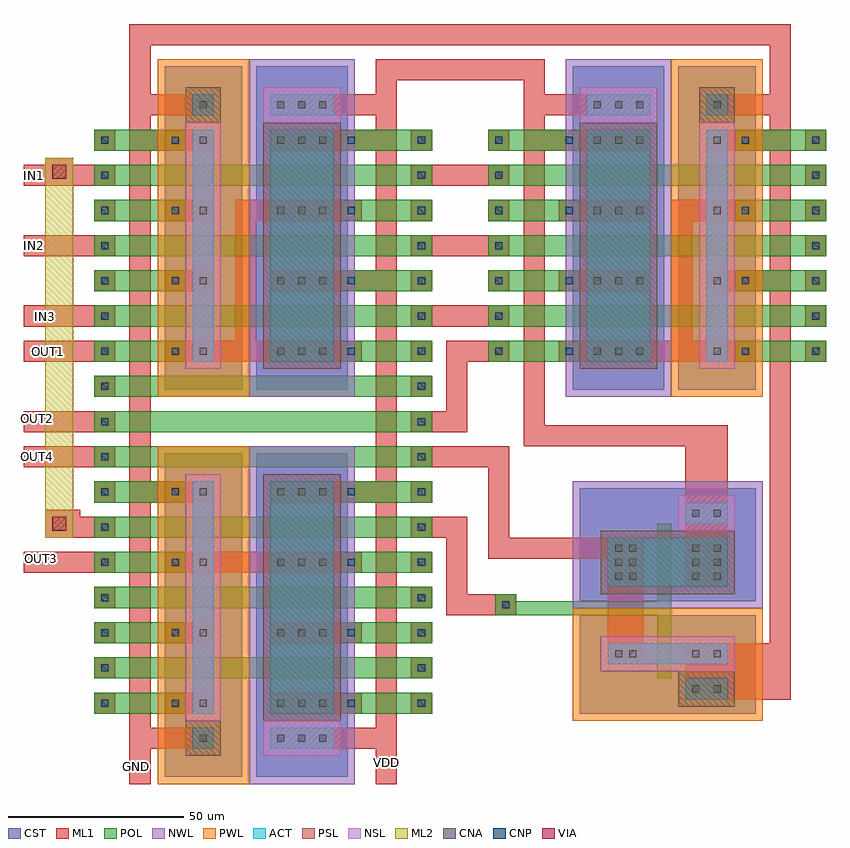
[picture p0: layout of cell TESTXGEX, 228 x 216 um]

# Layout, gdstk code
import gdstk
lib = gdstk.Library(unit=1e-6, precision=1e-09)
def R(c, l, rs):  # rectangles x0, y0, x1, y1
    for r in rs: c.add(gdstk.rectangle(r[:2], r[2:], *l))
def A(c, l, x, y, w, h, nx, ny, dx, dy):  # array of equal rectangles
    R(c, l, [(x+i*dx, y+j*dy, x+i*dx+w, y+j*dy+h) for i in range(nx) for j in range(ny)])
NWL = (1, 0)
PWL = (2, 0)
CST = (3, 0)
ACT = (4, 0)
POL = (7, 0)
NSL = (8, 0)
PSL = (9, 0)
CNA = (10, 0)
CNP = (11, 0)
ML1 = (12, 0)
VIA = (13, 0)
ML2 = (14, 0)

testxgex = lib.new_cell('TESTXGEX')
R(testxgex, NWL, [(34,4,64,100), (126,54,180,90), (34,114,64,210), (124,114,154,210)])
R(testxgex, PWL, [(8,4,34,100), (126,22,180,54), (8,114,34,210), (154,114,180,210)])
R(testxgex, CST, [(10,6,32,98), (36,6,62,98), (128,24,178,52), (128,56,178,88), (10,116,32,208), (36,116,62,208), (126,116,152,208), (156,116,178,208)])
R(testxgex, ACT, [(18,14,24,20), (40,14,58,20), (18,24,24,90), (40,24,58,90), (158,28,170,34), (136,38,170,44), (136,60,170,74), (158,78,170,84), (18,124,24,190), (40,124,58,190), (130,124,148,190), (164,124,170,190), (18,194,24,200), (40,194,58,200), (130,194,148,200), (164,194,170,200)])
A(testxgex, POL, -10, 24, 26, 6, 1, 4, 0, 20)
A(testxgex, POL, 60, 24, 26, 6, 1, 4, 0, 20)
A(testxgex, POL, -10, 34, 96, 6, 1, 4, 0, 20)
A(testxgex, POL, -10, 114, 96, 6, 1, 4, 0, 20)
A(testxgex, POL, -10, 124, 26, 6, 1, 4, 0, 20)
A(testxgex, POL, 60, 124, 26, 6, 1, 4, 0, 20)
A(testxgex, POL, 102, 124, 26, 6, 1, 4, 0, 20)
A(testxgex, POL, 172, 124, 26, 6, 1, 4, 0, 20)
A(testxgex, POL, 102, 134, 96, 6, 1, 3, 0, 20)
R(testxgex, POL, [(150,34,154,78), (104,52,110,58), (110,52,154,56), (-10,104,86,110)])
R(testxgex, NSL, [(38,12,60,22), (16,22,26,92), (134,36,172,46), (156,76,172,86), (16,122,26,192), (162,122,172,192), (38,192,60,202), (128,192,150,202)])
R(testxgex, PSL, [(16,12,26,22), (38,22,60,92), (156,26,172,36), (134,58,172,76), (38,122,60,192), (128,122,150,192), (16,192,26,202), (162,192,172,202)])
A(testxgex, CNA, 42, 16, 2, 2, 3, 2, 6, 10)
A(testxgex, CNA, 20, 26, 2, 2, 1, 4, 0, 20)
A(testxgex, CNA, 42, 46, 2, 2, 3, 3, 6, 20)
A(testxgex, CNA, 138, 62, 2, 2, 1, 3, 0, 4)
A(testxgex, CNA, 142, 62, 2, 2, 1, 3, 0, 4)
A(testxgex, CNA, 160, 62, 2, 2, 1, 3, 0, 4)
A(testxgex, CNA, 166, 62, 2, 2, 1, 3, 0, 4)
A(testxgex, CNA, 20, 126, 2, 2, 1, 4, 0, 20)
A(testxgex, CNA, 42, 126, 2, 2, 3, 4, 6, 20)
A(testxgex, CNA, 132, 126, 2, 2, 3, 4, 6, 20)
A(testxgex, CNA, 166, 126, 2, 2, 1, 4, 0, 20)
A(testxgex, CNA, 42, 196, 2, 2, 3, 1, 6, 0)
A(testxgex, CNA, 132, 196, 2, 2, 3, 1, 6, 0)
R(testxgex, CNA, [(20,16,22,18), (160,30,162,32), (166,30,168,32), (138,40,140,42), (142,40,144,42), (160,40,162,42), (166,40,168,42), (160,80,162,82), (166,80,168,82), (20,196,22,198), (166,196,168,198)])
A(testxgex, CNP, -8, 26, 2, 2, 1, 17, 0, 10)
A(testxgex, CNP, 12, 26, 2, 2, 1, 4, 0, 20)
A(testxgex, CNP, 62, 26, 2, 2, 1, 4, 0, 20)
A(testxgex, CNP, 82, 26, 2, 2, 1, 17, 0, 10)
A(testxgex, CNP, 12, 126, 2, 2, 1, 4, 0, 20)
A(testxgex, CNP, 62, 126, 2, 2, 1, 4, 0, 20)
A(testxgex, CNP, 104, 126, 2, 2, 1, 7, 0, 10)
A(testxgex, CNP, 124, 126, 2, 2, 1, 4, 0, 20)
A(testxgex, CNP, 174, 126, 2, 2, 1, 4, 0, 20)
A(testxgex, CNP, 194, 126, 2, 2, 1, 7, 0, 10)
R(testxgex, CNP, [(106,54,108,56)])
A(testxgex, ML1, -10, 24, 6, 6, 1, 17, 0, 10)
A(testxgex, ML1, 10, 24, 14, 6, 1, 4, 0, 20)
A(testxgex, ML1, 40, 24, 26, 6, 1, 4, 0, 20)
A(testxgex, ML1, 80, 24, 6, 6, 1, 17, 0, 10)
A(testxgex, ML1, 10, 124, 14, 6, 1, 4, 0, 20)
A(testxgex, ML1, 40, 124, 26, 6, 1, 4, 0, 20)
A(testxgex, ML1, 102, 124, 6, 6, 1, 7, 0, 10)
A(testxgex, ML1, 122, 124, 26, 6, 1, 4, 0, 20)
A(testxgex, ML1, 164, 124, 14, 6, 1, 4, 0, 20)
A(testxgex, ML1, 192, 124, 6, 6, 1, 7, 0, 10)
A(testxgex, ML1, -30, 134, 26, 6, 1, 3, 0, 20)
A(testxgex, ML1, 86, 134, 16, 6, 1, 3, 0, 20)
R(testxgex, ML1, [(0,4,6,210), (70,4,76,210), (0,14,24,20), (40,14,76,20), (158,28,170,44), (170,28,188,44), (136,38,146,74), (182,44,188,114), (90,52,96,74), (96,52,110,58), (158,60,170,78), (-30,64,-10,70), (24,64,40,70), (102,68,108,94), (108,68,136,74), (-24,74,-10,80), (86,74,96,80), (158,78,170,100), (-24,80,-14,82), (6,84,10,90), (66,84,70,90), (-30,94,-10,100), (86,94,108,100), (112,100,118,114), (118,100,170,106), (-30,104,-10,110), (86,104,90,110), (90,104,96,124), (112,114,118,210), (182,114,188,210), (-30,124,-10,130), (24,124,40,130), (90,124,102,130), (148,124,164,130), (30,130,36,164), (154,130,160,164), (66,144,70,150), (178,144,182,150), (30,164,40,170), (154,164,164,170), (-24,180,-16,182), (6,184,10,190), (66,184,70,190), (118,184,122,190), (178,184,182,190), (0,194,24,200), (40,194,76,200), (112,194,148,200), (164,194,188,200), (76,204,112,210), (0,210,6,220), (182,210,188,214), (6,214,188,220)])
R(testxgex, VIA, [(-22,76,-18,80), (-22,176,-18,180)])
R(testxgex, ML2, [(-24,74,-16,182)])
testxgex.add(gdstk.Label('GND', (2,9), layer=12, texttype=0))
testxgex.add(gdstk.Label('VDD', (73,10), layer=12, texttype=0))
testxgex.add(gdstk.Label('IN1', (-27,177), layer=12, texttype=0))
testxgex.add(gdstk.Label('IN3', (-24,137), layer=12, texttype=0))
testxgex.add(gdstk.Label('IN2', (-27,157), layer=12, texttype=0))
testxgex.add(gdstk.Label('OUT1', (-23,127), layer=12, texttype=0))
testxgex.add(gdstk.Label('OUT2', (-26,108), layer=12, texttype=0))
testxgex.add(gdstk.Label('OUT3', (-25,68), layer=12, texttype=0))
testxgex.add(gdstk.Label('OUT4', (-26,97), layer=12, texttype=0))

lib.write_gds('TESTXGEX.gds')
